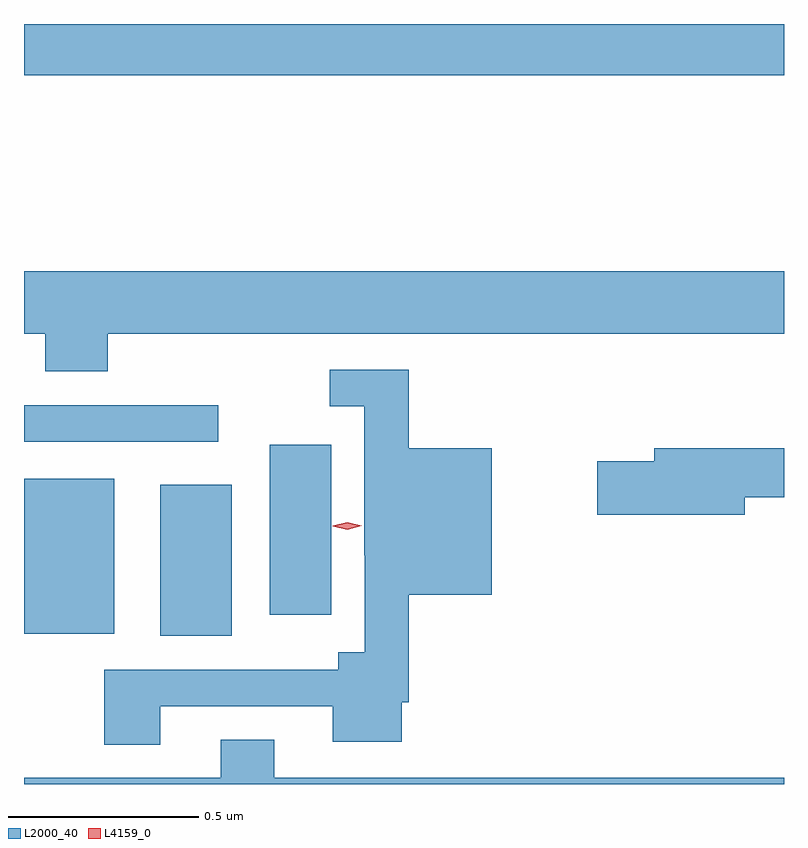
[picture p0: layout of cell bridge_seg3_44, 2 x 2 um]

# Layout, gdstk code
import gdstk
lib = gdstk.Library(unit=1e-6, precision=1e-09)
def R(c, l, rs):  # rectangles x0, y0, x1, y1
    for r in rs: c.add(gdstk.rectangle(r[:2], r[2:], *l))
def P(c, l, *ps):  # polygons
    for p in ps: c.add(gdstk.Polygon(p, *l))
L2000_40 = (2000, 40)
L4159_0 = (4159, 0)

bridge_seg3_44 = lib.new_cell('bridge_seg3_44')
R(bridge_seg3_44, L2000_40, [(700.094,696.125,700.282,696.523), (699.735,696.131,699.973,696.538), (700.382,696.18,700.543,696.628), (699.735,696.636,700.246,696.732), (699.735,697.6,701.735,697.735)])
P(bridge_seg3_44, L2000_40, [(699.956,696.92),(701.735,696.92),(701.735,697.084),(699.735,697.084),(699.735,696.92),(699.791,696.92),(699.791,696.821),(699.956,696.821)],
  [(700.093,695.94),(700.547,695.94),(700.547,695.846),(700.729,695.846),(700.729,695.95),(700.748,695.95),(700.748,696.233),(700.966,696.233),(700.966,696.619),(700.748,696.619),(700.748,696.825),(700.539,696.825),(700.539,696.729),(700.631,696.729),(700.631,696.337),(700.632,696.337),(700.632,696.082),(700.562,696.082),(700.562,696.036),(699.946,696.036),(699.946,695.838),(700.093,695.838)],
  [(701.632,696.49),(701.735,696.49),(701.735,696.619),(701.393,696.619),(701.393,696.585),(701.244,696.585),(701.244,696.443),(701.632,696.443)],
  [(701.735,695.752),(700.393,695.752),(700.393,695.851),(700.253,695.851),(700.253,695.752),(699.735,695.752),(699.735,695.735),(701.735,695.735)])
P(bridge_seg3_44, L4159_0, [(700.586,696.404),(700.548,696.413),(700.548,696.414),(700.548,696.414),(700.586,696.424),(700.624,696.414),(700.624,696.414),(700.624,696.414)])

lib.write_gds('bridge_seg3_44.gds')
